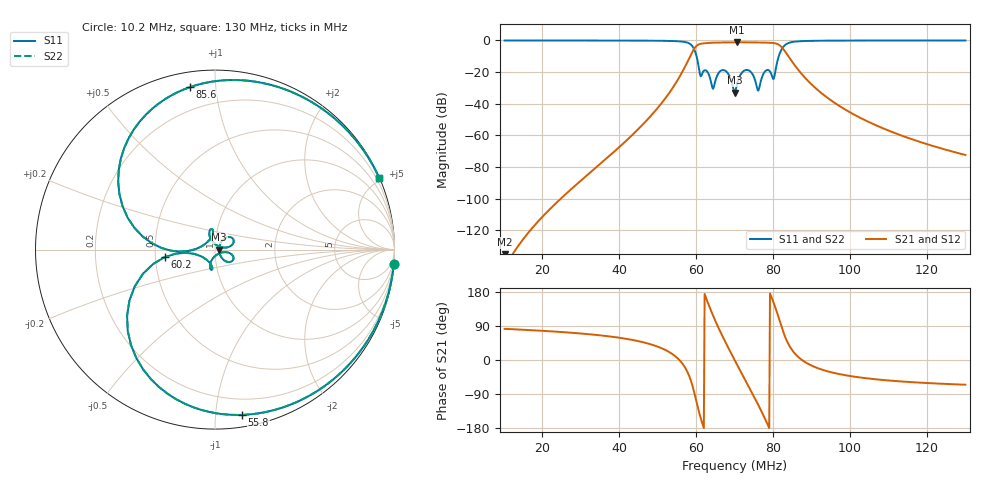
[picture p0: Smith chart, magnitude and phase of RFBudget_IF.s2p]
# MHz S RI R 50
! S-Parameters data
! Freq  reS11  imS11  reS21  imS21  reS12  imS12  reS22  imS22
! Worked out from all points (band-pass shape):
!   600 points, 10.2 MHz to 130 MHz, reference 50 ohm
!   highest |S21| = -1.14 dB at 70.6 MHz (marker M1); lowest = -143.6 dB at 10.2 MHz (marker M2)
!   |S21| within 3 dB of the highest: 59.83 MHz to 82.2 MHz (22.37 MHz wide, 31.5 % of centre)
!   lowest |S11| = -32.9 dB at 70 MHz (marker M3), VSWR 1.05, Z = 52.3 + j0.00576 ohm
!   |S11| at or under -10 dB: 60.1 MHz to 81.47 MHz (21.37 MHz wide, 30.2 % of centre)
!   |S22| runs from -32.9 to 0.0 dB; largest |S21 - S12| = 0
!   S11 on the Smith chart (normalised r, x): 10.2 MHz: 0, -25; 55.8 MHz: 0.08, -1.17; 60.2 MHz: 0.56, -0.05; 85.6 MHz: 0.08, +0.85; 130 MHz: 0.02, +4.82
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10.2  0.996 -0.0787  9e-09 6.57e-08  9e-09 6.57e-08  0.996 -0.0787
30.2  0.9564 -0.2783  1.34e-05 3.65e-05  1.34e-05 3.65e-05  0.9564 -0.2783
34.6  0.934 -0.3421  4.66e-05 0.000103  4.66e-05 0.000103  0.934 -0.3421
50.2  0.65 -0.7303  0.0065 0.00445  0.0065 0.00445  0.65 -0.7303
55.8  0.1518 -0.9208  0.0751 -0.00237  0.0751 -0.00237  0.1518 -0.9208
58.6  -0.4381 -0.6047  0.2066 -0.2794  0.2066 -0.2794  -0.4381 -0.6047
60.2  -0.2812 -0.0423  -0.2896 -0.6261  -0.2896 -0.6261  -0.2812 -0.0423
62.2  -0.0175 -0.1128  -0.8111 0.0797  -0.8111 0.0797  -0.0175 -0.1128
65.2  0.0624 -0.0145  -0.125 0.8465  -0.125 0.8465  0.0624 -0.0145
67.4  0.0919 -0.066  0.538 0.6765  0.538 0.6765  0.0919 -0.066
70  0.0225 5.51e-05  0.8761 -0.000321  0.8761 -0.000321  0.0225 5.51e-05
70.2  0.0231 0.0102  0.8743 -0.0597  0.8743 -0.0597  0.0231 0.0102
70.6  0.0279 0.0296  0.8585 -0.1768  0.8585 -0.1768  0.0279 0.0296
74.8  0.0784 0.0156  -0.0235 -0.8729  -0.0235 -0.8729  0.0784 0.0156
76.2  0.00844 0.0246  -0.4273 -0.7591  -0.4273 -0.7591  0.00844 0.0246
78.6  -0.0201 0.115  -0.8394 -0.1409  -0.8394 -0.1409  -0.0201 0.115
80.2  -0.0518 0.0334  -0.714 0.4162  -0.714 0.4162  -0.0518 0.0334
81.4  -0.2971 0.00875  -0.2939 0.6821  -0.2939 0.6821  -0.2971 0.00875
85.6  -0.1404 0.9049  0.1581 0.051  0.1581 0.051  -0.1404 0.9049
90.2  0.3555 0.9047  0.0373 -0.0104  0.0373 -0.0104  0.3555 0.9047
110.2  0.8294 0.5501  0.000814 -0.00113  0.000814 -0.00113  0.8294 0.5501
130  0.9157 0.3971  0.000101 -0.000218  0.000101 -0.000218  0.9157 0.3971
